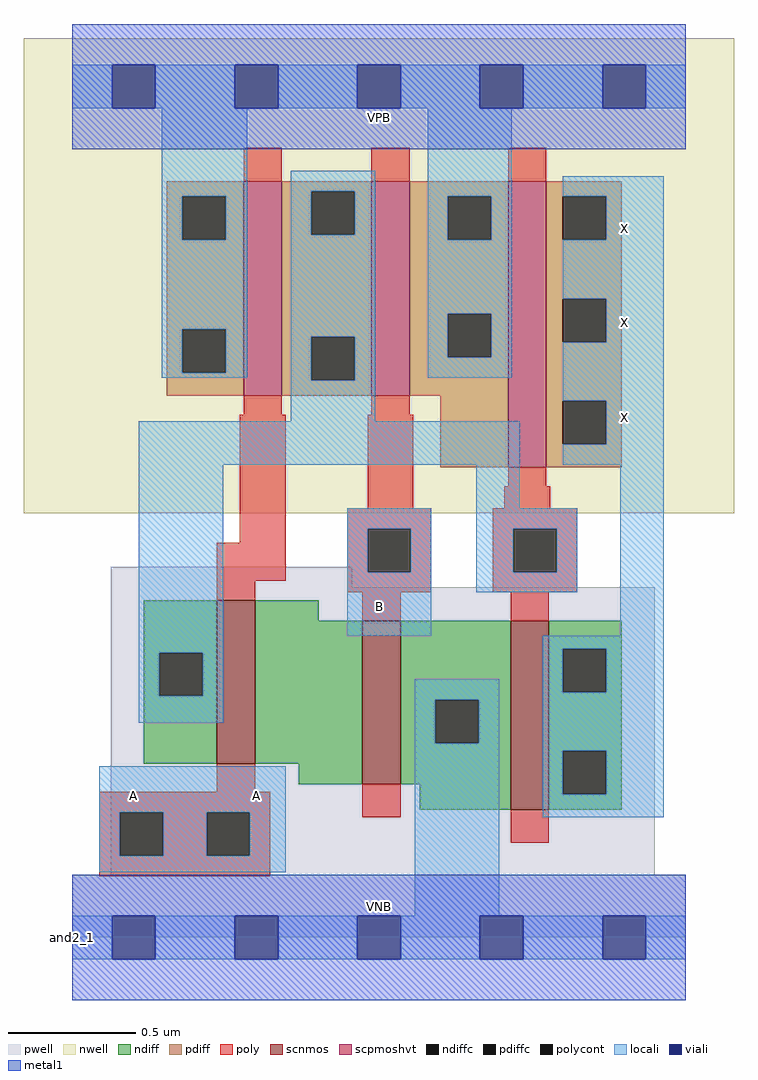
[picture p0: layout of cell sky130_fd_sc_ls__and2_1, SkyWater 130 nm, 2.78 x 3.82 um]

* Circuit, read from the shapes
.subckt sky130_fd_sc_ls__and2_1 A B VGND VNB VPB VPWR X
XM1 n1 A n2 VNB sky130_fd_pr__nfet_01v8 w=0.64 l=0.15
XM2 VGND B n1 VNB sky130_fd_pr__nfet_01v8 w=0.64 l=0.15
XM3 X n2 VGND VNB sky130_fd_pr__nfet_01v8 w=0.74 l=0.15
XM4 n2 A VPWR VPB sky130_fd_pr__pfet_01v8_hvt w=0.84 l=0.15
XM5 VPWR B n2 VPB sky130_fd_pr__pfet_01v8_hvt w=0.84 l=0.15
XM6 X n2 VPWR VPB sky130_fd_pr__pfet_01v8_hvt w=1.12 l=0.15
.ends

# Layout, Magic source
magic
tech sky130A
magscale 1 2
<< nwell >>
rect -38 332 518 704
<< pwell >>
rect 30 274 219 290
rect 30 49 456 274
rect 0 0 480 49
<< scnmos >>
rect 113 136 143 264
rect 227 120 257 248
rect 343 100 373 248
<< scpmoshvt >>
rect 134 424 164 592
rect 234 424 264 592
rect 341 368 371 592
<< ndiff >>
rect 56 223 113 264
rect 56 189 68 223
rect 102 189 113 223
rect 56 136 113 189
rect 143 248 193 264
rect 143 136 227 248
rect 177 120 227 136
rect 257 186 343 248
rect 257 152 284 186
rect 318 152 343 186
rect 257 120 343 152
rect 272 100 343 120
rect 373 226 430 248
rect 373 192 384 226
rect 418 192 430 226
rect 373 146 430 192
rect 373 112 384 146
rect 418 112 430 146
rect 373 100 430 112
<< pdiff >>
rect 74 580 134 592
rect 74 546 86 580
rect 120 546 134 580
rect 74 476 134 546
rect 74 442 86 476
rect 120 442 134 476
rect 74 424 134 442
rect 164 584 234 592
rect 164 550 187 584
rect 221 550 234 584
rect 164 470 234 550
rect 164 436 187 470
rect 221 436 234 470
rect 164 424 234 436
rect 264 580 341 592
rect 264 546 294 580
rect 328 546 341 580
rect 264 488 341 546
rect 264 454 294 488
rect 328 454 341 488
rect 264 424 341 454
rect 288 368 341 424
rect 371 580 430 592
rect 371 546 384 580
rect 418 546 430 580
rect 371 500 430 546
rect 371 466 384 500
rect 418 466 430 500
rect 371 420 430 466
rect 371 386 384 420
rect 418 386 430 420
rect 371 368 430 386
<< ndiffc >>
rect 68 189 102 223
rect 284 152 318 186
rect 384 192 418 226
rect 384 112 418 146
<< pdiffc >>
rect 86 546 120 580
rect 86 442 120 476
rect 187 550 221 584
rect 187 436 221 470
rect 294 546 328 580
rect 294 454 328 488
rect 384 546 418 580
rect 384 466 418 500
rect 384 386 418 420
<< poly >>
rect 134 592 164 618
rect 234 592 264 618
rect 341 592 371 618
rect 134 409 164 424
rect 234 409 264 424
rect 131 309 167 409
rect 231 336 267 409
rect 341 353 371 368
rect 338 336 374 353
rect 113 279 167 309
rect 215 320 281 336
rect 215 286 231 320
rect 265 286 281 320
rect 113 264 143 279
rect 215 270 281 286
rect 329 320 395 336
rect 329 286 345 320
rect 379 286 395 320
rect 329 270 395 286
rect 227 248 257 270
rect 343 248 373 270
rect 113 114 143 136
rect 21 98 155 114
rect 21 64 37 98
rect 71 64 105 98
rect 139 64 155 98
rect 227 94 257 120
rect 343 74 373 100
rect 21 48 155 64
<< polycont >>
rect 231 286 265 320
rect 345 286 379 320
rect 37 64 71 98
rect 105 64 139 98
<< locali >>
rect 0 649 31 683
rect 65 649 127 683
rect 161 649 223 683
rect 257 649 319 683
rect 353 649 415 683
rect 449 649 480 683
rect 70 580 137 649
rect 70 546 86 580
rect 120 546 137 580
rect 70 476 137 546
rect 70 442 86 476
rect 120 442 137 476
rect 70 438 137 442
rect 171 584 237 600
rect 171 550 187 584
rect 221 550 237 584
rect 171 470 237 550
rect 171 436 187 470
rect 221 436 237 470
rect 278 580 344 649
rect 278 546 294 580
rect 328 546 344 580
rect 278 488 344 546
rect 278 454 294 488
rect 328 454 344 488
rect 278 438 344 454
rect 384 580 463 596
rect 418 546 463 580
rect 384 500 463 546
rect 418 466 463 500
rect 171 404 237 436
rect 384 420 463 466
rect 52 370 350 404
rect 418 386 463 420
rect 384 370 463 386
rect 52 223 118 370
rect 316 336 350 370
rect 215 320 281 336
rect 215 286 231 320
rect 265 286 281 320
rect 215 236 281 286
rect 316 320 395 336
rect 316 286 345 320
rect 379 286 395 320
rect 316 270 395 286
rect 429 236 463 370
rect 52 189 68 223
rect 102 189 118 223
rect 368 226 463 236
rect 52 168 118 189
rect 268 186 334 202
rect 268 152 284 186
rect 318 152 334 186
rect 21 98 167 134
rect 21 64 37 98
rect 71 64 105 98
rect 139 64 167 98
rect 21 51 167 64
rect 268 17 334 152
rect 368 192 384 226
rect 418 192 463 226
rect 368 146 463 192
rect 368 112 384 146
rect 418 112 463 146
rect 368 94 463 112
rect 0 -17 31 17
rect 65 -17 127 17
rect 161 -17 223 17
rect 257 -17 319 17
rect 353 -17 415 17
rect 449 -17 480 17
<< viali >>
rect 31 649 65 683
rect 127 649 161 683
rect 223 649 257 683
rect 319 649 353 683
rect 415 649 449 683
rect 31 -17 65 17
rect 127 -17 161 17
rect 223 -17 257 17
rect 319 -17 353 17
rect 415 -17 449 17
<< metal1 >>
rect 0 683 480 715
rect 0 649 31 683
rect 65 649 127 683
rect 161 649 223 683
rect 257 649 319 683
rect 353 649 415 683
rect 449 649 480 683
rect 0 617 480 649
rect 0 17 480 49
rect 0 -17 31 17
rect 65 -17 127 17
rect 161 -17 223 17
rect 257 -17 319 17
rect 353 -17 415 17
rect 449 -17 480 17
rect 0 -49 480 -17
<< labels >>
rlabel comment s 0 0 0 0 4 and2_1
flabel pwell s 0 0 480 49 0 FreeSans 200 0 0 0 VNB
port 4 nsew ground bidirectional
flabel nwell s 0 617 480 666 0 FreeSans 200 0 0 0 VPB
port 5 nsew power bidirectional
flabel metal1 s 0 617 480 666 0 FreeSans 340 0 0 0 VPWR
port 6 nsew power bidirectional abutment
flabel metal1 s 0 0 480 49 0 FreeSans 340 0 0 0 VGND
port 3 nsew ground bidirectional abutment
flabel locali s 31 94 65 128 0 FreeSans 340 0 0 0 A
port 1 nsew signal input
flabel locali s 127 94 161 128 0 FreeSans 340 0 0 0 A
port 1 nsew signal input
flabel locali s 223 242 257 276 0 FreeSans 340 0 0 0 B
port 2 nsew signal input
flabel locali s 415 390 449 424 0 FreeSans 340 0 0 0 X
port 7 nsew signal output
flabel locali s 415 464 449 498 0 FreeSans 340 0 0 0 X
port 7 nsew signal output
flabel locali s 415 538 449 572 0 FreeSans 340 0 0 0 X
port 7 nsew signal output
<< properties >>
string LEFsite unit
string LEFclass CORE
string FIXED_BBOX 0 0 480 666
string GDS_FILE $PDKPATH/libs.ref/sky130_fd_sc_ls/gds/sky130_fd_sc_ls.gds
string LEFsymmetry X Y
string GDS_END 2060466
string GDS_START 2055442
<< end >>
